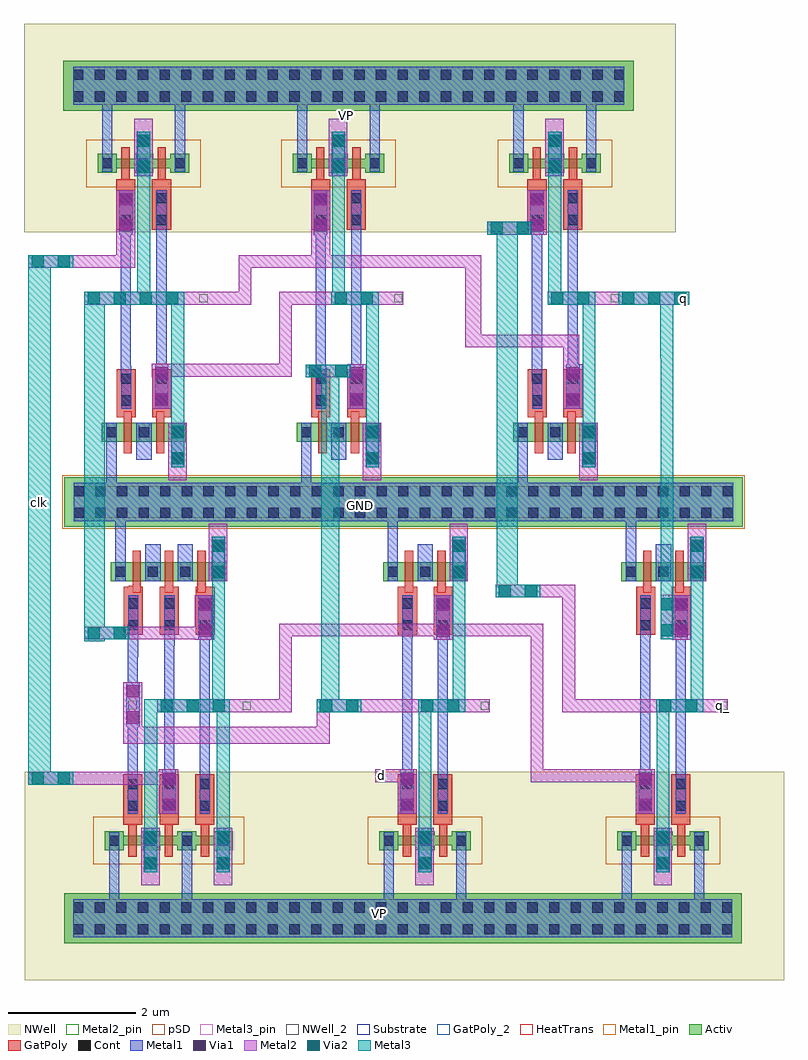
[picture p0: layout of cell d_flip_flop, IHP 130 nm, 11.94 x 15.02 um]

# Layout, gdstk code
from math import pi, radians
import gdstk
lib = gdstk.Library(unit=1e-6, precision=1e-09)
def R(c, l, rs):  # rectangles x0, y0, x1, y1
    for r in rs: c.add(gdstk.rectangle(r[:2], r[2:], *l))
def A(c, l, x, y, w, h, nx, ny, dx, dy):  # array of equal rectangles
    R(c, l, [(x+i*dx, y+j*dy, x+i*dx+w, y+j*dy+h) for i in range(nx) for j in range(ny)])
Activ = (1, 0)
GatPoly = (5, 0)
GatPoly_2 = (5, 2)
Cont = (6, 0)
Metal1 = (8, 0)
Metal1_pin = (8, 2)
Metal2 = (10, 0)
Metal2_pin = (10, 2)
pSD = (14, 0)
Via1 = (19, 0)
Via2 = (29, 0)
Metal3 = (30, 0)
Metal3_pin = (30, 2)
NWell = (31, 0)
NWell_2 = (31, 2)
Substrate = (40, 0)
HeatTrans = (51, 0)

ntap1_4 = lib.new_cell('ntap1$4')
R(ntap1_4, Activ, [(0,0,2.5,0.78)])
A(ntap1_4, Cont, 0.15, 0.14, 0.16, 0.16, 7, 2, 0.34, 0.34)
R(ntap1_4, Metal1, [(0.15,0.09,2.35,0.69)])
R(ntap1_4, Metal1_pin, [(0.15,0.09,2.35,0.69), (0.15,0.14,2.35,0.64)])
R(ntap1_4, NWell, [(-0.24,-0.24,2.74,1.02), (0,0,2.5,0.78)])
R(ntap1_4, NWell_2, [(0,0,2.5,0.78)])
ntap1_4.add(gdstk.Label('well', (1.25,0.01), layer=63, texttype=0))
ntap1_4.add(gdstk.Label('well', (1.25,0.01), layer=31, texttype=0))

nmos_3 = lib.new_cell('nmos$3')
A(nmos_3, Activ, 0, 0, 0.3, 0.3, 3, 1, 0.51, 0)
R(nmos_3, Activ, [(0,0,1.32,0.3)])
R(nmos_3, GatPoly, [(0.34,-0.18,0.47,0.48), (0.85,-0.18,0.98,0.48)])
R(nmos_3, GatPoly_2, [(0.34,-0.18,0.47,0.48)])
A(nmos_3, Cont, 0.07, 0.07, 0.16, 0.16, 3, 1, 0.51, 0)
A(nmos_3, Metal1, 0.07, 0, 0.16, 0.3, 3, 1, 0.51, 0)
R(nmos_3, Metal1_pin, [(0.07,0,0.23,0.3), (0.58,0,0.74,0.3)])
R(nmos_3, HeatTrans, [(0.34,-0.18,0.47,0.48), (0.85,-0.18,0.98,0.48)])
nmos_3.add(gdstk.Label('nmos', (0.405,0.15), layer=63, texttype=0))
nmos_3.add(gdstk.Label('nmos', (0.405,0.15), layer=51, texttype=0))
nmos_3.add(gdstk.Label('nmos', (0.915,0.15), layer=51, texttype=0))

ptap1_2 = lib.new_cell('ptap1$2')
R(ptap1_2, Activ, [(0,0,2.5,0.78)])
A(ptap1_2, Cont, 0.15, 0.14, 0.16, 0.16, 7, 2, 0.34, 0.34)
R(ptap1_2, Metal1, [(0.15,0.09,2.35,0.69), (0.15,0.14,2.35,0.64)])
R(ptap1_2, Metal1_pin, [(0.15,0.14,2.35,0.64)])
R(ptap1_2, pSD, [(-0.03,-0.03,2.53,0.81)])
R(ptap1_2, Substrate, [(0,0,2.5,0.78)])
ptap1_2.add(gdstk.Label('sub!', (1.25,0.01), layer=63, texttype=0))
ptap1_2.add(gdstk.Label('sub!', (1.25,0.01), layer=40, texttype=0))

via_5 = lib.new_cell('Via$5')
R(via_5, Metal2, [(-0.1,-0.35,0.1,0.35)])
R(via_5, Via2, [(-0.095,-0.3,0.095,-0.11), (-0.095,0.11,0.095,0.3)])
R(via_5, Metal3, [(-0.1,-0.35,0.1,0.35)])

via_4 = lib.new_cell('Via$4')
R(via_4, Metal1, [(-0.105,-0.35,0.105,0.35)])
R(via_4, Metal2, [(-0.1,-0.35,0.1,0.35)])
R(via_4, Via1, [(-0.095,-0.3,0.095,-0.11), (-0.095,0.11,0.095,0.3)])

via_6_1 = lib.new_cell('Via$6$1')
R(via_6_1, GatPoly, [(-0.32,-0.15,0.32,0.15)])
R(via_6_1, Cont, [(-0.25,-0.08,-0.09,0.08), (0.09,-0.08,0.25,0.08)])
R(via_6_1, Metal1, [(-0.3,-0.08,0.3,0.08)])

pmos_3 = lib.new_cell('pmos$3')
A(pmos_3, Activ, 0, 0, 0.3, 0.3, 3, 1, 0.57, 0)
R(pmos_3, Activ, [(0,0.075,1.44,0.225)])
R(pmos_3, GatPoly, [(0.37,-0.105,0.5,0.405), (0.94,-0.105,1.07,0.405)])
A(pmos_3, Cont, 0.07, 0.07, 0.16, 0.16, 3, 1, 0.57, 0)
A(pmos_3, Metal1, 0.07, 0.02, 0.16, 0.26, 3, 1, 0.57, 0)
R(pmos_3, pSD, [(-0.18,-0.225,1.62,0.525)])
R(pmos_3, NWell, [(-0.31,-0.31,1.75,0.61)])
R(pmos_3, Substrate, [(1.14,0,1.44,0.3)])
R(pmos_3, HeatTrans, [(0.37,-0.105,0.5,0.405), (0.94,-0.105,1.07,0.405)])
pmos_3.add(gdstk.Label('pmos', (0.435,0.15), layer=63, texttype=0))
pmos_3.add(gdstk.Label('pmos', (0.435,0.15), layer=51, texttype=0))
pmos_3.add(gdstk.Label('pmos', (1.005,0.15), layer=51, texttype=0))

nand_2in_nmosx2_1 = lib.new_cell('NAND_2in_nmosx2$1')
R(nand_2in_nmosx2_1, GatPoly, [(0.605,-3.005,0.905,-2.895), (1.165,-3.005,1.465,-2.895), (0.6,0.58,0.9,0.73), (1.16,0.58,1.46,0.73), (0.68,0.68,0.81,0.77), (1.25,0.68,1.38,0.77)])
R(nand_2in_nmosx2_1, Metal1, [(0.445,-4.15,0.605,-3.37), (0.915,-3.675,1.155,-3.415), (0.915,-3.435,1.155,-3.095), (0.67,-2.44,0.835,-2.21), (0.67,-2.21,0.83,-1.27), (1.23,-2.21,1.39,-1.27), (0.67,-1.31,0.83,-0.37), (1.23,-1.31,1.39,-0.37), (0.67,-0.37,0.83,-0.12), (1.23,-0.37,1.39,-0.01), (1.52,1,1.68,1.2), (0.38,1.01,0.54,1.15), (0.38,1.115,0.54,1.99), (1.52,1.115,1.68,1.94)])
R(nand_2in_nmosx2_1, Metal1_pin, [(0.44,-4.395,0.57,-4.265), (0.4,2.15,0.53,2.28)])
R(nand_2in_nmosx2_1, Metal2, [(1.415,-3.995,1.705,-3.795), (1.415,-3.795,1.705,-3.095), (1.165,-2.875,1.465,-2.175), (1.62,-1.24,2.05,-1.04), (0.6,-0.14,0.9,0.56), (0.88,0.78,1.17,0.98), (0.88,0.98,1.17,1.68)])
R(nand_2in_nmosx2_1, Metal2_pin, [(1.255,-2.345,1.385,-2.215), (1.905,-1.205,2.035,-1.075), (0.69,-0.1,0.82,0.03)])
R(nand_2in_nmosx2_1, Metal3, [(1.465,-3.105,1.665,-2.905), (1.465,-2.905,1.665,-1.045), (0.93,-1.09,1.13,0.17), (0.93,0.1,1.13,0.62), (0.93,0.62,1.13,0.72), (0.93,0.71,1.13,0.87)])
R(nand_2in_nmosx2_1, NWell, [(-0.85,-0.1,2.93,3.17)])
nand_2in_nmosx2_1.add(gdstk.Reference(ntap1_4, (-0.23,1.81)))
nand_2in_nmosx2_1.add(gdstk.Reference(nmos_3, (1.695,-3.095), rotation=pi))
nand_2in_nmosx2_1.add(gdstk.Reference(ptap1_2, (-0.22,-4.73)))
nand_2in_nmosx2_1.add(gdstk.Reference(via_5, (1.27,-1.14), rotation=3*pi/2))
nand_2in_nmosx2_1.add(gdstk.Reference(via_4, (1.565,-3.445), rotation=pi))
nand_2in_nmosx2_1.add(gdstk.Reference(via_4, (1.315,-2.525), rotation=pi))
nand_2in_nmosx2_1.add(gdstk.Reference(via_4, (0.75,0.21), rotation=pi))
nand_2in_nmosx2_1.add(gdstk.Reference(via_4, (1.03,1.13), rotation=pi))
nand_2in_nmosx2_1.add(gdstk.Reference(via_6_1, (0.755,-2.575), rotation=3*pi/2))
nand_2in_nmosx2_1.add(gdstk.Reference(via_6_1, (1.315,-2.575), rotation=3*pi/2))
nand_2in_nmosx2_1.add(gdstk.Reference(via_6_1, (0.75,0.26), rotation=3*pi/2))
nand_2in_nmosx2_1.add(gdstk.Reference(via_6_1, (1.31,0.26), rotation=3*pi/2))
nand_2in_nmosx2_1.add(gdstk.Reference(via_5, (1.565,-3.445), rotation=pi))
nand_2in_nmosx2_1.add(gdstk.Reference(via_5, (1.03,1.13), rotation=pi))
nand_2in_nmosx2_1.add(gdstk.Reference(pmos_3, (1.75,1.13), rotation=pi))
nand_2in_nmosx2_1.add(gdstk.Label('VP', (0.46,2.21), layer=8, texttype=25))
nand_2in_nmosx2_1.add(gdstk.Label('GND', (0.505,-4.325), layer=8, texttype=25))
nand_2in_nmosx2_1.add(gdstk.Label('y', (1.97,-1.14), layer=10, texttype=25))
nand_2in_nmosx2_1.add(gdstk.Label('b', (0.75,-0.04), layer=10, texttype=25))
nand_2in_nmosx2_1.add(gdstk.Label('a', (1.315,-2.285), layer=10, texttype=25))

via_10 = lib.new_cell('Via$10')
R(via_10, Metal1, [(-0.105,-0.35,0.105,0.35)])
R(via_10, Metal2, [(-0.1,-0.35,0.1,0.35)])
R(via_10, Via1, [(-0.095,-0.3,0.095,-0.11), (-0.095,0.11,0.095,0.3)])

via_11 = lib.new_cell('Via$11')
R(via_11, Metal2, [(-0.1,-0.555,0.1,0.555)])
A(via_11, Via2, -0.095, -0.505, 0.19, 0.19, 1, 3, 0, 0.41)
R(via_11, Metal3, [(-0.1,-0.555,0.1,0.555)])

nmos_2 = lib.new_cell('nmos$2')
A(nmos_2, Activ, 0, 0, 0.3, 0.3, 4, 1, 0.51, 0)
R(nmos_2, Activ, [(0,0,1.83,0.3)])
A(nmos_2, GatPoly, 0.34, -0.18, 0.13, 0.66, 3, 1, 0.51, 0)
R(nmos_2, GatPoly_2, [(0.34,-0.18,0.47,0.48)])
A(nmos_2, Cont, 0.07, 0.07, 0.16, 0.16, 4, 1, 0.51, 0)
A(nmos_2, Metal1, 0.07, 0, 0.16, 0.3, 4, 1, 0.51, 0)
R(nmos_2, Metal1_pin, [(0.07,0,0.23,0.3), (0.58,0,0.74,0.3)])
A(nmos_2, HeatTrans, 0.34, -0.18, 0.13, 0.66, 3, 1, 0.51, 0)
nmos_2.add(gdstk.Label('nmos', (0.405,0.15), layer=63, texttype=0))
nmos_2.add(gdstk.Label('nmos', (0.405,0.15), layer=51, texttype=0))
nmos_2.add(gdstk.Label('nmos', (0.915,0.15), layer=51, texttype=0))
nmos_2.add(gdstk.Label('nmos', (1.425,0.15), layer=51, texttype=0))

ntap1 = lib.new_cell('ntap1')
R(ntap1, Activ, [(0,0,3.5,0.78)])
A(ntap1, Cont, 0.14, 0.14, 0.16, 0.16, 10, 2, 0.34, 0.34)
R(ntap1, Metal1, [(0.14,0.09,3.36,0.69)])
R(ntap1, Metal1_pin, [(0.14,0.09,3.36,0.69), (0.14,0.14,3.36,0.64)])
R(ntap1, NWell, [(-0.24,-0.24,3.74,1.02), (0,0,3.5,0.78)])
R(ntap1, NWell_2, [(0,0,3.5,0.78)])
ntap1.add(gdstk.Label('well', (1.75,0.01), layer=63, texttype=0))
ntap1.add(gdstk.Label('well', (1.75,0.01), layer=31, texttype=0))

ptap1 = lib.new_cell('ptap1')
R(ptap1, Activ, [(0,0,3.5,0.78)])
A(ptap1, Cont, 0.14, 0.14, 0.16, 0.16, 10, 2, 0.34, 0.34)
R(ptap1, Metal1, [(0.14,0.09,3.36,0.69), (0.14,0.14,3.36,0.64)])
R(ptap1, Metal1_pin, [(0.14,0.14,3.36,0.64)])
R(ptap1, pSD, [(-0.03,-0.03,3.53,0.81)])
R(ptap1, Substrate, [(0,0,3.5,0.78)])
ptap1.add(gdstk.Label('sub!', (1.75,0.01), layer=63, texttype=0))
ptap1.add(gdstk.Label('sub!', (1.75,0.01), layer=40, texttype=0))

via_8 = lib.new_cell('Via$8')
R(via_8, Metal2, [(-0.1,-0.35,0.1,0.35)])
R(via_8, Via2, [(-0.095,-0.3,0.095,-0.11), (-0.095,0.11,0.095,0.3)])
R(via_8, Metal3, [(-0.1,-0.35,0.1,0.35)])

via_6 = lib.new_cell('Via$6')
R(via_6, GatPoly, [(-0.32,-0.15,0.32,0.15)])
R(via_6, Cont, [(-0.25,-0.08,-0.09,0.08), (0.09,-0.08,0.25,0.08)])
R(via_6, Metal1, [(-0.3,-0.08,0.3,0.08)])

pmos_2 = lib.new_cell('pmos$2')
A(pmos_2, Activ, 0, 0, 0.3, 0.3, 4, 1, 0.57, 0)
R(pmos_2, Activ, [(0,0.075,2.01,0.225)])
A(pmos_2, GatPoly, 0.37, -0.105, 0.13, 0.51, 3, 1, 0.57, 0)
R(pmos_2, GatPoly, [(0.37,-0.105,0.5,0.405)])
A(pmos_2, Cont, 0.07, 0.07, 0.16, 0.16, 4, 1, 0.57, 0)
A(pmos_2, Metal1, 0.64, 0.02, 0.16, 0.26, 3, 1, 0.57, 0)
R(pmos_2, Metal1, [(0.07,0.02,0.23,0.28), (0.07,0.02,0.23,0.28), (0.64,0.02,0.8,0.28)])
R(pmos_2, pSD, [(-0.18,-0.225,2.19,0.525)])
R(pmos_2, NWell, [(-0.31,-0.31,2.32,0.61)])
R(pmos_2, Substrate, [(1.71,0,2.01,0.3)])
A(pmos_2, HeatTrans, 0.37, -0.105, 0.13, 0.51, 3, 1, 0.57, 0)
pmos_2.add(gdstk.Label('pmos', (0.435,0.15), layer=63, texttype=0))
pmos_2.add(gdstk.Label('pmos', (0.435,0.15), layer=51, texttype=0))
pmos_2.add(gdstk.Label('pmos', (1.005,0.15), layer=51, texttype=0))
pmos_2.add(gdstk.Label('pmos', (1.575,0.15), layer=51, texttype=0))

nand_3in_nmosx3 = lib.new_cell('NAND_3in_nmosx3')
R(nand_3in_nmosx3, GatPoly, [(0.115,-3.025,0.245,-2.915), (0.685,-3.025,0.815,-2.915), (0.035,-3.005,0.335,-2.895), (0.605,-3.005,0.905,-2.895), (1.165,-3.005,1.465,-2.895), (0.03,0.58,0.33,0.73), (0.6,0.58,0.9,0.73), (1.16,0.58,1.46,0.73), (0.68,0.68,0.81,0.77), (1.25,0.68,1.38,0.77)])
R(nand_3in_nmosx3, Metal1, [(-0.095,-4.15,0.065,-3.37), (0.375,-3.675,0.615,-3.415), (0.885,-3.675,1.125,-3.415), (0.375,-3.435,0.615,-3.095), (0.885,-3.435,1.125,-3.095), (0.67,-2.44,0.835,-2.09), (0.1,-2.42,0.265,-1.91), (0.67,-2.21,0.83,-1.27), (1.23,-2.21,1.39,-1.27), (0.1,-1.91,0.26,-0.56), (0.67,-1.31,0.83,-0.37), (1.23,-1.31,1.39,-0.37), (0.1,-0.62,0.26,-0.04), (1.23,-0.53,1.39,0), (0.67,-0.37,0.83,-0.11), (0.95,1,1.11,1.2), (-0.19,1.01,-0.03,1.15), (-0.19,1.115,-0.03,1.99), (0.95,1.115,1.11,1.94)])
R(nand_3in_nmosx3, Metal1_pin, [(0.44,-4.405,0.57,-4.275), (0.74,2.15,0.87,2.28)])
R(nand_3in_nmosx3, Metal2, [(1.375,-3.995,1.665,-3.795), (1.375,-3.795,1.665,-3.095), (1.155,-2.875,1.455,-2.175), (0.03,-1.51,0.33,-0.81), (1.62,-1.24,2.05,-1.04), (0.59,-0.14,0.89,0.56), (0.31,0.78,0.6,0.98), (1.45,0.78,1.74,0.98), (0.31,0.98,0.6,1.68), (1.45,0.98,1.74,1.68)])
R(nand_3in_nmosx3, Metal2_pin, [(1.255,-2.385,1.385,-2.255), (0.11,-1.215,0.24,-1.085), (1.905,-1.205,2.035,-1.075), (0.69,-0.07,0.82,0.06)])
R(nand_3in_nmosx3, Metal3, [(1.425,-3.105,1.625,-2.905), (1.425,-2.905,1.625,-2.5), (1.425,-2.5,1.625,-1.15), (0.36,-1.24,0.56,-0.97), (0.38,-1.24,0.565,-1.04), (1.66,-1.24,1.7,-1.09), (1.5,-1.09,1.7,0.17), (0.36,-0.97,0.56,0.26), (1.5,-0.03,1.7,0.62), (0.36,0.08,0.56,0.78), (1.5,0.62,1.7,0.72), (1.5,0.71,1.7,0.87)])
R(nand_3in_nmosx3, NWell, [(-1.52,-0.1,-0.85,3.17), (-0.85,-0.1,2.93,3.17)])
nand_3in_nmosx3.add(gdstk.Reference(via_10, (1.525,-3.445), rotation=pi))
nand_3in_nmosx3.add(gdstk.Reference(via_10, (1.315,-2.525), rotation=pi))
nand_3in_nmosx3.add(gdstk.Reference(via_10, (0.18,-1.16), rotation=pi))
nand_3in_nmosx3.add(gdstk.Reference(via_10, (0.75,0.21), rotation=pi))
nand_3in_nmosx3.add(gdstk.Reference(via_10, (0.46,1.13), rotation=pi))
nand_3in_nmosx3.add(gdstk.Reference(via_10, (1.6,1.13), rotation=pi))
nand_3in_nmosx3.add(gdstk.Reference(via_11, (1.12,-1.14), rotation=3*pi/2))
nand_3in_nmosx3.add(gdstk.Reference(nmos_2, (1.665,-3.095), rotation=pi))
nand_3in_nmosx3.add(gdstk.Reference(ntap1, (-0.9,1.81)))
nand_3in_nmosx3.add(gdstk.Reference(ptap1, (-0.89,-4.73)))
nand_3in_nmosx3.add(gdstk.Reference(via_8, (1.525,-3.445), rotation=pi))
nand_3in_nmosx3.add(gdstk.Reference(via_8, (0.46,1.13), rotation=pi))
nand_3in_nmosx3.add(gdstk.Reference(via_8, (1.6,1.13), rotation=pi))
nand_3in_nmosx3.add(gdstk.Reference(via_6, (0.185,-2.575), rotation=3*pi/2))
nand_3in_nmosx3.add(gdstk.Reference(via_6, (0.755,-2.575), rotation=3*pi/2))
nand_3in_nmosx3.add(gdstk.Reference(via_6, (1.315,-2.575), rotation=3*pi/2))
nand_3in_nmosx3.add(gdstk.Reference(via_6, (0.18,0.26), rotation=3*pi/2))
nand_3in_nmosx3.add(gdstk.Reference(via_6, (0.75,0.26), rotation=3*pi/2))
nand_3in_nmosx3.add(gdstk.Reference(via_6, (1.31,0.26), rotation=3*pi/2))
nand_3in_nmosx3.add(gdstk.Reference(pmos_2, (1.75,1.13), rotation=pi))
nand_3in_nmosx3.add(gdstk.Label('VP', (0.8,2.21), layer=8, texttype=25))
nand_3in_nmosx3.add(gdstk.Label('GND', (0.505,-4.335), layer=8, texttype=25))
nand_3in_nmosx3.add(gdstk.Label('y', (1.97,-1.14), layer=10, texttype=25))
nand_3in_nmosx3.add(gdstk.Label('b', (0.76,0.02), layer=10, texttype=25))
nand_3in_nmosx3.add(gdstk.Label('c', (0.17,-1.15), layer=10, texttype=25))
nand_3in_nmosx3.add(gdstk.Label('a', (1.315,-2.325), layer=10, texttype=25))

ntap1_1 = lib.new_cell('ntap1$1')
R(ntap1_1, Activ, [(0,0,2.5,0.78)])
A(ntap1_1, Cont, 0.15, 0.14, 0.16, 0.16, 7, 2, 0.34, 0.34)
R(ntap1_1, Metal1, [(0.15,0.09,2.35,0.69)])
R(ntap1_1, Metal1_pin, [(0.15,0.09,2.35,0.69), (0.15,0.14,2.35,0.64)])
R(ntap1_1, NWell, [(-0.24,-0.24,2.74,1.02), (0,0,2.5,0.78)])
R(ntap1_1, NWell_2, [(0,0,2.5,0.78)])
ntap1_1.add(gdstk.Label('well', (1.25,0.01), layer=63, texttype=0))
ntap1_1.add(gdstk.Label('well', (1.25,0.01), layer=31, texttype=0))

nmos = lib.new_cell('nmos')
A(nmos, Activ, 0, 0, 0.3, 0.3, 3, 1, 0.51, 0)
R(nmos, Activ, [(0,0,1.32,0.3)])
R(nmos, GatPoly, [(0.34,-0.18,0.47,0.48), (0.85,-0.18,0.98,0.48)])
R(nmos, GatPoly_2, [(0.34,-0.18,0.47,0.48)])
A(nmos, Cont, 0.07, 0.07, 0.16, 0.16, 3, 1, 0.51, 0)
A(nmos, Metal1, 0.07, 0, 0.16, 0.3, 3, 1, 0.51, 0)
R(nmos, Metal1_pin, [(0.07,0,0.23,0.3), (0.58,0,0.74,0.3)])
R(nmos, HeatTrans, [(0.34,-0.18,0.47,0.48), (0.85,-0.18,0.98,0.48)])
nmos.add(gdstk.Label('nmos', (0.405,0.15), layer=63, texttype=0))
nmos.add(gdstk.Label('nmos', (0.405,0.15), layer=51, texttype=0))
nmos.add(gdstk.Label('nmos', (0.915,0.15), layer=51, texttype=0))

ptap1_1 = lib.new_cell('ptap1$1')
R(ptap1_1, Activ, [(0,0,2.5,0.78)])
A(ptap1_1, Cont, 0.15, 0.14, 0.16, 0.16, 7, 2, 0.34, 0.34)
R(ptap1_1, Metal1, [(0.15,0.09,2.35,0.69), (0.15,0.14,2.35,0.64)])
R(ptap1_1, Metal1_pin, [(0.15,0.14,2.35,0.64)])
R(ptap1_1, pSD, [(-0.03,-0.03,2.53,0.81)])
R(ptap1_1, Substrate, [(0,0,2.5,0.78)])
ptap1_1.add(gdstk.Label('sub!', (1.25,0.01), layer=63, texttype=0))
ptap1_1.add(gdstk.Label('sub!', (1.25,0.01), layer=40, texttype=0))

pmos = lib.new_cell('pmos')
A(pmos, Activ, 0, 0, 0.3, 0.3, 3, 1, 0.57, 0)
R(pmos, Activ, [(0,0.075,1.44,0.225)])
R(pmos, GatPoly, [(0.37,-0.105,0.5,0.405), (0.37,-0.105,0.5,0.405), (0.94,-0.105,1.07,0.405)])
A(pmos, Cont, 0.07, 0.07, 0.16, 0.16, 3, 1, 0.57, 0)
R(pmos, Metal1, [(0.07,0.02,0.23,0.28), (0.07,0.02,0.23,0.28), (0.64,0.02,0.8,0.28), (0.64,0.02,0.8,0.28), (1.21,0.02,1.37,0.28)])
R(pmos, pSD, [(-0.18,-0.225,1.62,0.525)])
R(pmos, NWell, [(-0.31,-0.31,1.75,0.61)])
R(pmos, Substrate, [(1.14,0,1.44,0.3)])
R(pmos, HeatTrans, [(0.37,-0.105,0.5,0.405), (0.94,-0.105,1.07,0.405)])
pmos.add(gdstk.Label('pmos', (0.435,0.15), layer=63, texttype=0))
pmos.add(gdstk.Label('pmos', (0.435,0.15), layer=51, texttype=0))
pmos.add(gdstk.Label('pmos', (1.005,0.15), layer=51, texttype=0))

nand_2in_nmosx2 = lib.new_cell('NAND_2in_nmosx2')
R(nand_2in_nmosx2, GatPoly, [(0.605,-3.005,0.905,-2.895), (1.165,-3.005,1.465,-2.895), (0.6,0.58,0.9,0.73), (1.16,0.58,1.46,0.73), (0.68,0.68,0.81,0.77), (1.25,0.68,1.38,0.77)])
R(nand_2in_nmosx2, Metal1, [(0.445,-4.15,0.605,-3.37), (0.915,-3.675,1.155,-3.415), (0.915,-3.435,1.155,-3.095), (0.67,-2.44,0.835,-2.21), (0.67,-2.21,0.83,-1.27), (1.23,-2.21,1.39,-1.27), (0.67,-1.31,0.83,-0.37), (1.23,-1.31,1.39,-0.37), (0.67,-0.37,0.83,-0.12), (1.23,-0.37,1.39,-0.01), (1.52,1,1.68,1.2), (0.38,1.01,0.54,1.15), (0.38,1.115,0.54,1.99), (1.52,1.115,1.68,1.94)])
R(nand_2in_nmosx2, Metal1_pin, [(0.44,-4.395,0.57,-4.265), (0.4,2.15,0.53,2.28)])
R(nand_2in_nmosx2, Metal2, [(1.415,-3.995,1.705,-3.795), (1.415,-3.795,1.705,-3.095), (1.165,-2.875,1.465,-2.175), (1.62,-1.24,2.05,-1.04), (0.6,-0.14,0.9,0.56), (0.88,0.78,1.17,0.98), (0.88,0.98,1.17,1.68)])
R(nand_2in_nmosx2, Metal2_pin, [(1.255,-2.345,1.385,-2.215), (1.905,-1.205,2.035,-1.075), (0.69,-0.1,0.82,0.03)])
R(nand_2in_nmosx2, Metal3, [(1.465,-3.105,1.665,-2.905), (1.465,-2.905,1.665,-1.045), (0.93,-1.09,1.13,0.17), (0.93,0.1,1.13,0.62), (0.93,0.62,1.13,0.72), (0.93,0.71,1.13,0.87)])
R(nand_2in_nmosx2, NWell, [(-0.85,-0.1,2.93,3.17)])
nand_2in_nmosx2.add(gdstk.Reference(ntap1_1, (-0.23,1.81)))
nand_2in_nmosx2.add(gdstk.Reference(nmos, (1.695,-3.095), rotation=pi))
nand_2in_nmosx2.add(gdstk.Reference(ptap1_1, (-0.22,-4.73)))
nand_2in_nmosx2.add(gdstk.Reference(via_8, (1.27,-1.14), rotation=3*pi/2))
nand_2in_nmosx2.add(gdstk.Reference(via_10, (1.565,-3.445), rotation=pi))
nand_2in_nmosx2.add(gdstk.Reference(via_10, (1.315,-2.525), rotation=pi))
nand_2in_nmosx2.add(gdstk.Reference(via_10, (0.75,0.21), rotation=pi))
nand_2in_nmosx2.add(gdstk.Reference(via_10, (1.03,1.13), rotation=pi))
nand_2in_nmosx2.add(gdstk.Reference(via_6, (0.755,-2.575), rotation=3*pi/2))
nand_2in_nmosx2.add(gdstk.Reference(via_6, (1.315,-2.575), rotation=3*pi/2))
nand_2in_nmosx2.add(gdstk.Reference(via_6, (0.75,0.26), rotation=3*pi/2))
nand_2in_nmosx2.add(gdstk.Reference(via_6, (1.31,0.26), rotation=3*pi/2))
nand_2in_nmosx2.add(gdstk.Reference(via_8, (1.565,-3.445), rotation=pi))
nand_2in_nmosx2.add(gdstk.Reference(via_8, (1.03,1.13), rotation=pi))
nand_2in_nmosx2.add(gdstk.Reference(pmos, (1.75,1.13), rotation=pi))
nand_2in_nmosx2.add(gdstk.Label('VP', (0.46,2.21), layer=8, texttype=25))
nand_2in_nmosx2.add(gdstk.Label('GND', (0.505,-4.325), layer=8, texttype=25))
nand_2in_nmosx2.add(gdstk.Label('y', (1.97,-1.14), layer=10, texttype=25))
nand_2in_nmosx2.add(gdstk.Label('b', (0.75,-0.04), layer=10, texttype=25))
nand_2in_nmosx2.add(gdstk.Label('a', (1.315,-2.285), layer=10, texttype=25))

ntap1_3 = lib.new_cell('ntap1$3')
R(ntap1_3, Activ, [(0,0,1.8,0.78)])
A(ntap1_3, Cont, 0.14, 0.14, 0.16, 0.16, 5, 2, 0.34, 0.34)
R(ntap1_3, Metal1, [(0.14,0.09,1.66,0.69)])
R(ntap1_3, Metal1_pin, [(0.14,0.09,1.66,0.69), (0.14,0.14,1.66,0.64)])
R(ntap1_3, NWell, [(-0.24,-0.24,2.04,1.02), (0,0,1.8,0.78)])
R(ntap1_3, NWell_2, [(0,0,1.8,0.78)])
ntap1_3.add(gdstk.Label('well', (0.9,0.01), layer=63, texttype=0))
ntap1_3.add(gdstk.Label('well', (0.9,0.01), layer=31, texttype=0))

via = lib.new_cell('Via')
R(via, Metal2, [(-0.35,-0.1,0.35,0.1)])
R(via, Via2, [(-0.3,-0.095,-0.11,0.095), (0.11,-0.095,0.3,0.095)])
R(via, Metal3, [(-0.35,-0.1,0.35,0.1)])

via_12 = lib.new_cell('Via$12')
R(via_12, Metal2, [(-0.555,-0.1,0.555,0.1)])
A(via_12, Via2, -0.505, -0.095, 0.19, 0.19, 3, 1, 0.41, 0)
R(via_12, Metal3, [(-0.555,-0.1,0.555,0.1)])

via_13 = lib.new_cell('Via$13')
R(via_13, Metal2, [(-0.76,-0.1,0.76,0.1)])
A(via_13, Via2, -0.71, -0.095, 0.19, 0.19, 4, 1, 0.41, 0)
R(via_13, Metal3, [(-0.76,-0.1,0.76,0.1)])

ntap1_5 = lib.new_cell('ntap1$5')
R(ntap1_5, Activ, [(0,0,2.1,0.78)])
A(ntap1_5, Cont, 0.12, 0.14, 0.16, 0.16, 6, 2, 0.34, 0.34)
R(ntap1_5, Metal1, [(0.12,0.09,1.98,0.69)])
R(ntap1_5, Metal1_pin, [(0.12,0.09,1.98,0.69), (0.12,0.14,1.98,0.64)])
R(ntap1_5, NWell, [(-0.24,-0.24,2.34,1.02), (0,0,2.1,0.78)])
R(ntap1_5, NWell_2, [(0,0,2.1,0.78)])
ntap1_5.add(gdstk.Label('well', (1.05,0.01), layer=63, texttype=0))
ntap1_5.add(gdstk.Label('well', (1.05,0.01), layer=31, texttype=0))

d_flip_flop = lib.new_cell('d_flip_flop')
R(d_flip_flop, Metal1_pin, [(5.305,-5.04,5.435,-4.91), (4.995,1.37,5.125,1.5), (4.785,7.96,4.915,8.09)])
R(d_flip_flop, Metal2, [(-0.15,-2.95,1.29,-2.75), (1.29,-2.95,1.96,-2.75), (5.3,-2.91,5.88,-2.71), (7.74,-2.91,9.52,-2.71), (7.74,-2.81,7.94,-2.31), (1.34,-2.31,1.6,-2.04), (1.36,-2.31,4.58,-2.04), (7.74,-2.31,7.94,-1.39), (4.38,-2.13,4.585,-1.73), (3.36,-1.81,3.94,-1.61), (3.79,-1.81,3.99,-1.39), (4.38,-1.81,4.67,-1.61), (4.67,-1.81,6.02,-1.61), (8.24,-1.81,8.44,-0.89), (8.27,-1.81,9.71,-1.61), (3.79,-1.39,3.99,-0.43), (7.74,-1.39,7.94,-0.49), (8.24,-0.89,8.44,0.19), (1.38,-0.67,2.58,-0.47), (3.79,-0.62,4.07,-0.42), (4.07,-0.62,4.65,-0.42), (4.65,-0.62,6.26,-0.42), (6.16,-0.62,7.94,-0.42), (7.69,-0.01,8.27,0.19), (1.79,3.46,3.17,3.66), (3.17,3.46,3.99,3.66), (3.79,3.53,3.99,4.17), (8.255,3.655,8.505,4.12), (6.71,3.92,6.96,5.17), (6.71,3.92,7.72,4.12), (7.72,3.92,8.47,4.12), (3.79,4.17,3.99,4.59), (2.465,4.59,3.35,4.79), (3.79,4.59,4.61,4.79), (9.14,4.59,10.17,4.79), (3.15,4.79,3.35,5.21), (0.13,5.17,0.61,5.37), (0.61,5.17,1.48,5.37), (1.23,5.17,1.53,5.19), (3.15,5.17,3.67,5.37), (3.67,5.17,4.54,5.37), (4.22,5.17,6.21,5.37), (6.21,5.17,6.96,5.37), (1.23,5.19,1.53,5.69), (4.29,5.29,4.59,5.69)])
R(d_flip_flop, Metal2_pin, [(5.325,-2.88,5.455,-2.75), (10.695,-1.775,10.825,-1.645), (10.075,4.625,10.205,4.755)])
R(d_flip_flop, Metal3, [(-0.15,-2.85,0.2,-2.45), (-0.15,-2.45,0.2,4.28), (4.45,-1.81,4.73,2.56), (0.73,-0.7,1.05,3.6), (9.78,-0.47,9.98,3.76), (7.205,0.09,7.54,4.77), (4.45,2.56,4.73,3.49), (0.73,3.6,1.05,4.69), (9.775,3.76,9.98,4.69), (-0.15,4.28,0.2,5.23), (7.205,4.77,7.54,5.76)])
R(d_flip_flop, Metal3_pin, [(-0.045,1.42,0.085,1.55)])
d_flip_flop.add(gdstk.Reference(nand_2in_nmosx2_1, (5.05,-2.85), x_reflection=True))
d_flip_flop.add(gdstk.Reference(nand_3in_nmosx3, (1.31,-2.85), x_reflection=True))
d_flip_flop.add(gdstk.Reference(nand_2in_nmosx2, (7.09,5.83)))
d_flip_flop.add(gdstk.Reference(nand_2in_nmosx2, (0.63,5.83)))
d_flip_flop.add(gdstk.Reference(nand_2in_nmosx2, (8.79,-2.85), x_reflection=True))
d_flip_flop.add(gdstk.Reference(ntap1_3, (2.45,7.64)))
d_flip_flop.add(gdstk.Reference(ntap1_3, (5.51,7.64)))
d_flip_flop.add(gdstk.Reference(via, (0.2,-2.85), rotation=pi))
d_flip_flop.add(gdstk.Reference(via, (0.2,5.27), rotation=pi))
d_flip_flop.add(gdstk.Reference(nand_2in_nmosx2, (3.69,5.83)))
d_flip_flop.add(gdstk.Reference(via_12, (9.68,4.69), rotation=pi))
d_flip_flop.add(gdstk.Reference(via_8, (9.88,-0.32), rotation=pi))
d_flip_flop.add(gdstk.Reference(via, (1.08,-0.57), rotation=pi))
d_flip_flop.add(gdstk.Reference(via_13, (1.49,4.69), rotation=pi))
d_flip_flop.add(gdstk.Reference(via, (7.54,0.09), rotation=pi))
d_flip_flop.add(gdstk.Reference(via, (7.41,5.79), rotation=pi))
d_flip_flop.add(gdstk.Reference(via, (4.73,-1.71), rotation=pi))
d_flip_flop.add(gdstk.Reference(via, (4.56,3.55), rotation=pi))
d_flip_flop.add(gdstk.Reference(ntap1_3, (3.47,-5.44)))
d_flip_flop.add(gdstk.Reference(ntap1_5, (6.89,-5.44)))
d_flip_flop.add(gdstk.Label('VP', (5.37,-4.98), layer=8, texttype=25))
d_flip_flop.add(gdstk.Label('VP', (4.85,7.56), layer=8, texttype=25))
d_flip_flop.add(gdstk.Label('GND', (5.06,1.43), layer=8, texttype=25))
d_flip_flop.add(gdstk.Label('q', (10.14,4.69), layer=10, texttype=25))
d_flip_flop.add(gdstk.Label('d', (5.39,-2.81), layer=10, texttype=25))
d_flip_flop.add(gdstk.Label('q_', (10.76,-1.71), layer=10, texttype=25))
d_flip_flop.add(gdstk.Label('clk', (0.02,1.48), layer=30, texttype=25))

lib.write_gds('d_flip_flop.gds')
